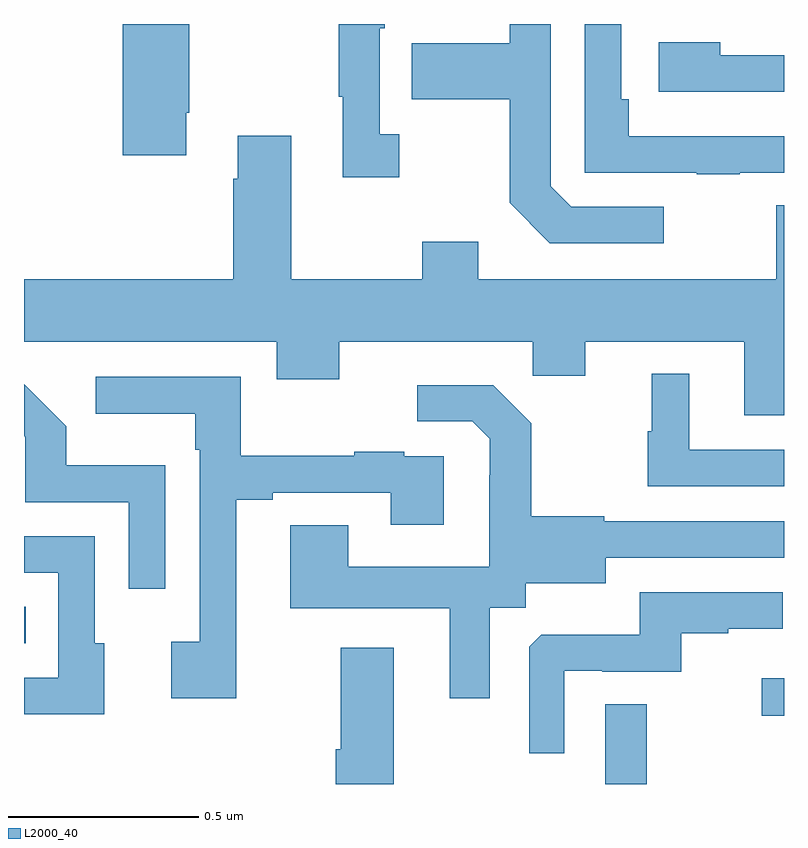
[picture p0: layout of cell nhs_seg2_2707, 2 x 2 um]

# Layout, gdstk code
import gdstk
lib = gdstk.Library(unit=1e-6, precision=1e-09)
def R(c, l, rs):  # rectangles x0, y0, x1, y1
    for r in rs: c.add(gdstk.rectangle(r[:2], r[2:], *l))
def P(c, l, *ps):  # polygons
    for p in ps: c.add(gdstk.Polygon(p, *l))
L2000_40 = (2000, 40)

nhs_seg2_2707 = lib.new_cell('nhs_seg2_2707')
R(nhs_seg2_2707, L2000_40, [(145.53,651.8,145.639,652.01), (145.941,651.98,146,652.078), (144,652.17,144.005,652.266)])
P(nhs_seg2_2707, L2000_40, [(144.988,653.51),(144.936,653.51),(144.936,653.789),(144.949,653.789),(144.949,653.8),(144.828,653.8),(144.828,653.609),(144.839,653.609),(144.839,653.397),(144.988,653.397)],
  [(145.684,653.319),(145.44,653.319),(145.386,653.373),(145.386,653.8),(145.278,653.8),(145.278,653.749),(145.021,653.749),(145.021,653.602),(145.278,653.602),(145.278,653.329),(145.383,653.223),(145.684,653.223)],
  [(145.883,653.409),(146,653.409),(146,653.505),(145.592,653.505),(145.592,653.602),(145.572,653.602),(145.572,653.8),(145.476,653.8),(145.476,653.409),(145.771,653.409),(145.771,653.404),(145.883,653.404)],
  [(144.427,653.566),(144.435,653.566),(144.435,653.8),(144.26,653.8),(144.26,653.454),(144.427,653.454)],
  [(146,653.718),(145.832,653.718),(145.832,653.752),(145.671,653.752),(145.671,653.622),(146,653.622)],
  [(146,653.323),(145.979,653.323),(145.979,653.128),(145.195,653.128),(145.195,653.227),(145.048,653.227),(145.048,653.128),(144.703,653.128),(144.703,653.506),(144.563,653.506),(144.563,653.393),(144.551,653.393),(144.551,653.128),(144,653.128),(144,652.964),(144.665,652.964),(144.665,652.865),(144.829,652.865),(144.829,652.964),(145.339,652.964),(145.339,652.874),(145.477,652.874),(145.477,652.964),(145.895,652.964),(145.895,652.77),(146,652.77)],
  [(146,652.68),(145.75,652.68),(145.75,652.879),(145.652,652.879),(145.652,652.728),(145.641,652.728),(145.641,652.584),(146,652.584)],
  [(144.559,652.548),(144.655,652.548),(144.655,652.566),(144.965,652.566),(144.965,652.482),(145.105,652.482),(145.105,652.662),(145.001,652.662),(145.001,652.675),(144.869,652.675),(144.869,652.664),(144.571,652.664),(144.571,652.872),(144.189,652.872),(144.189,652.775),(144.45,652.775),(144.45,652.679),(144.462,652.679),(144.462,652.174),(144.387,652.174),(144.387,652.026),(144.559,652.026)],
  [(144.372,652.639),(144.111,652.639),(144.111,652.742),(144,652.852),(144,652.716),(144.003,652.713),(144.003,652.542),(144.276,652.542),(144.276,652.314),(144.372,652.314)],
  [(145.225,652.264),(145.32,652.264),(145.32,652.328),(145.531,652.328),(145.531,652.395),(146,652.395),(146,652.491),(145.527,652.491),(145.527,652.504),(145.335,652.504),(145.335,652.749),(145.235,652.849),(145.035,652.849),(145.035,652.755),(145.179,652.755),(145.226,652.708),(145.226,652.613),(145.224,652.613),(145.224,652.372),(144.853,652.372),(144.853,652.481),(144.701,652.481),(144.701,652.262),(145.121,652.262),(145.121,652.026),(145.225,652.026)],
  [(144.211,652.17),(144.186,652.17),(144.186,652.452),(144,652.452),(144,652.356),(144.09,652.356),(144.09,652.08),(144,652.08),(144,651.983),(144.211,651.983)],
  [(145.422,652.098),(145.522,652.098),(145.522,652.095),(145.73,652.095),(145.73,652.197),(145.853,652.197),(145.853,652.208),(145.997,652.208),(145.997,652.305),(145.62,652.305),(145.62,652.193),(145.361,652.193),(145.329,652.161),(145.329,651.881),(145.422,651.881)],
  [(144.973,652.159),(144.833,652.159),(144.833,651.892),(144.821,651.892),(144.821,651.8),(144.973,651.8)])

lib.write_gds('nhs_seg2_2707.gds')
